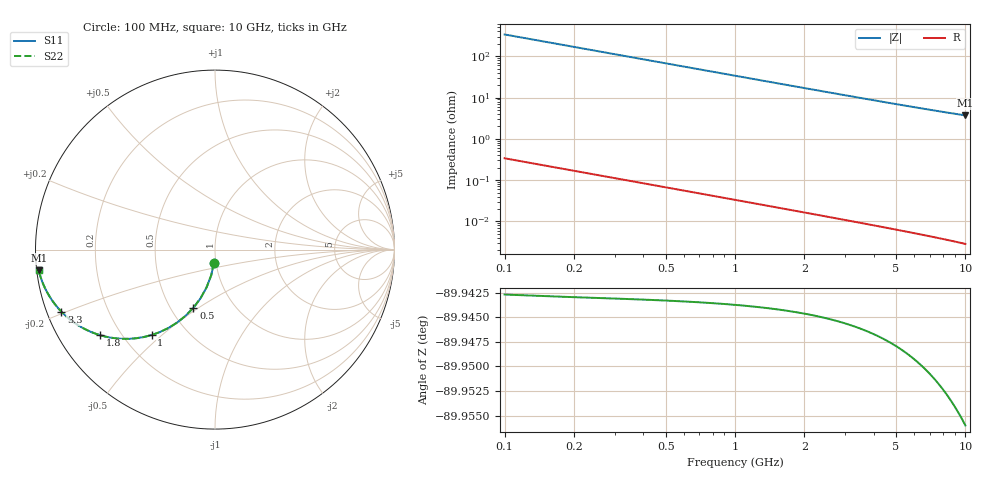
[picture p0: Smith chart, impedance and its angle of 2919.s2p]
# Hz S RI R 50.00
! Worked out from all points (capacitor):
!   100 points, 100 MHz to 10 GHz, reference 50 ohm
!   read as one part in shunt: C = 4.71 pF near 100 MHz
!   lowest |Z| = 3.7 ohm at 10 GHz (marker M1)
!   S11 on the Smith chart (normalised r, x): 100 MHz: 0.98, -0.14; 500 MHz: 0.65, -0.48; 1 GHz: 0.31, -0.46; 1.8 GHz: 0.13, -0.33; 3.3 GHz: 0.04, -0.19; 10 GHz: 0.01, -0.06
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1e8  -0.00549 -0.0734  0.9945 -0.0737  0.9945 -0.0737  -0.00549 -0.0734
2e8  -0.0215 -0.1445  0.9784 -0.145  0.9784 -0.145  -0.0215 -0.1445
3e8  -0.0471 -0.211  0.9528 -0.2119  0.9528 -0.2119  -0.0471 -0.211
4e8  -0.0807 -0.2713  0.9192 -0.2725  0.9192 -0.2725  -0.0807 -0.2713
5e8  -0.1205 -0.3244  0.8794 -0.3258  0.8794 -0.3258  -0.1205 -0.3244
6e8  -0.1647 -0.3696  0.8352 -0.3713  0.8352 -0.3713  -0.1647 -0.3696
7e8  -0.2115 -0.4069  0.7884 -0.4089  0.7884 -0.4089  -0.2115 -0.4069
8e8  -0.2594 -0.4367  0.7406 -0.439  0.7406 -0.439  -0.2594 -0.4367
1e9  -0.3535 -0.4761  0.6465 -0.479  0.6465 -0.479  -0.3535 -0.4761
1.2e9  -0.4403 -0.4942  0.5597 -0.4977  0.5597 -0.4977  -0.4403 -0.4942
1.4e9  -0.5169 -0.4972  0.4831 -0.5012  0.4831 -0.5012  -0.5169 -0.4972
1.8e9  -0.6385 -0.4773  0.3614 -0.4825  0.3614 -0.4825  -0.6385 -0.4773
2.1e9  -0.706 -0.452  0.2939 -0.4581  0.2939 -0.4581  -0.706 -0.452
2.5e9  -0.7728 -0.4149  0.2272 -0.4222  0.2272 -0.4222  -0.7728 -0.4149
2.9e9  -0.8206 -0.3789  0.1794 -0.3874  0.1794 -0.3874  -0.8206 -0.3789
3.3e9  -0.8555 -0.3462  0.1444 -0.3559  0.1444 -0.3559  -0.8555 -0.3462
3.4e9  -0.8627 -0.3386  0.1372 -0.3486  0.1372 -0.3486  -0.8627 -0.3386
4.2e9  -0.9055 -0.2856  0.0943 -0.2981  0.0943 -0.2981  -0.9055 -0.2856
5.1e9  -0.934 -0.24  0.0658 -0.2552  0.0658 -0.2552  -0.934 -0.24
6.7e9  -0.9609 -0.1829  0.0389 -0.2032  0.0389 -0.2032  -0.9609 -0.1829
8.4e9  -0.975 -0.1422  0.0246 -0.168  0.0246 -0.168  -0.975 -0.1422
1e10  -0.9824 -0.1144  0.0171 -0.1457  0.0171 -0.1457  -0.9824 -0.1144
